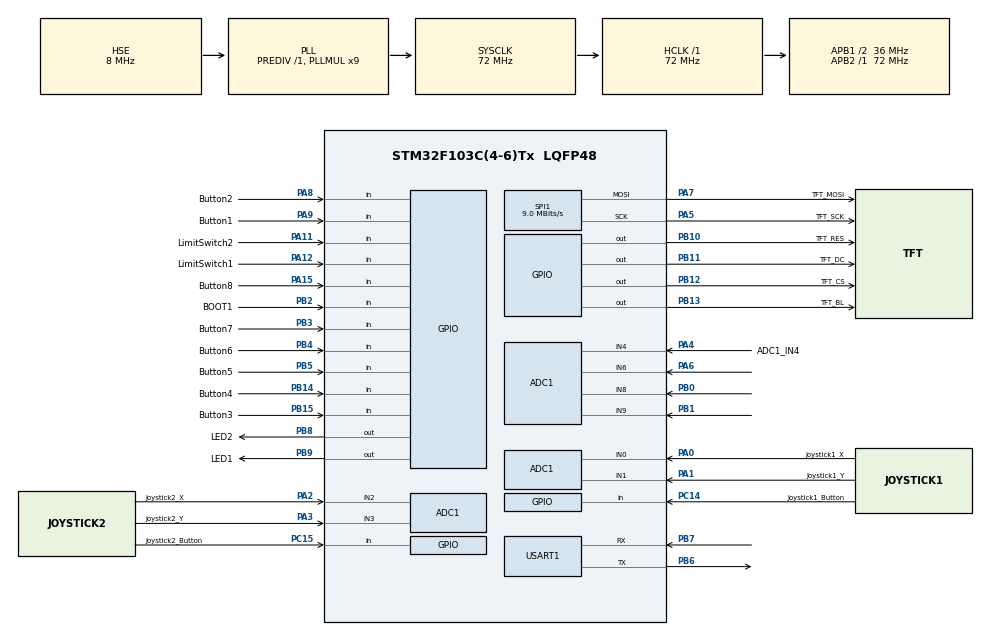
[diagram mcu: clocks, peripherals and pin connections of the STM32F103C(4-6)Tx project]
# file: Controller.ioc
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ADC1.Channel-0\#ChannelRegularConversion=ADC_CHANNEL_0
ADC1.Channel-1\#ChannelRegularConversion=ADC_CHANNEL_1
ADC1.Channel-2\#ChannelRegularConversion=ADC_CHANNEL_2
ADC1.Channel-3\#ChannelRegularConversion=ADC_CHANNEL_3
ADC1.ContinuousConvMode=ENABLE
ADC1.NbrOfConversion=4
ADC1.NbrOfConversionFlag=1
ADC1.Rank-0\#ChannelRegularConversion=1
ADC1.Rank-1\#ChannelRegularConversion=2
ADC1.Rank-2\#ChannelRegularConversion=3
ADC1.Rank-3\#ChannelRegularConversion=4
ADC1.SamplingTime-0\#ChannelRegularConversion=ADC_SAMPLETIME_1CYCLE_5
ADC1.SamplingTime-1\#ChannelRegularConversion=ADC_SAMPLETIME_1CYCLE_5
ADC1.SamplingTime-2\#ChannelRegularConversion=ADC_SAMPLETIME_1CYCLE_5
ADC1.SamplingTime-3\#ChannelRegularConversion=ADC_SAMPLETIME_1CYCLE_5
ADC1.master=1
Dma.ADC1.0.Direction=DMA_PERIPH_TO_MEMORY
Dma.ADC1.0.Instance=DMA1_Channel1
Dma.ADC1.0.MemDataAlignment=DMA_MDATAALIGN_HALFWORD
Dma.ADC1.0.MemInc=DMA_MINC_ENABLE
Dma.ADC1.0.Mode=DMA_CIRCULAR
Dma.ADC1.0.PeriphDataAlignment=DMA_PDATAALIGN_HALFWORD
Dma.ADC1.0.PeriphInc=DMA_PINC_DISABLE
Dma.ADC1.0.Priority=DMA_PRIORITY_HIGH
Dma.Request0=ADC1
Mcu.Family=STM32F1
Mcu.Name=STM32F103C(4-6)Tx
Mcu.Package=LQFP48
NVIC.PriorityGroup=NVIC_PRIORITYGROUP_4
NVIC.USART1_IRQn=true\:1\:0\:true\:false\:true\:true\:true\:true
PA0-WKUP.GPIO_Label=Joystick1_X
PA0-WKUP.Signal=ADCx_IN0
PA1.GPIO_Label=Joystick1_Y
PA1.Signal=ADCx_IN1
PA11.GPIO_Label=LimitSwitch2
PA11.GPIO_PuPd=GPIO_NOPULL
PA11.Signal=GPIO_Input
PA12.GPIO_Label=LimitSwitch1
PA12.GPIO_PuPd=GPIO_NOPULL
PA12.Signal=GPIO_Input
PA13.Mode=Serial_Wire
PA13.Signal=SYS_JTMS-SWDIO
PA14.Mode=Serial_Wire
PA14.Signal=SYS_JTCK-SWCLK
PA15.GPIO_Label=Button8
PA15.GPIO_PuPd=GPIO_PULLUP
PA15.Signal=GPIO_Input
PA2.GPIO_Label=Joystick2_X
PA2.Signal=ADCx_IN2
PA3.GPIO_Label=Joystick2_Y
PA3.Signal=ADCx_IN3
PA4.GPIO_Label=ADC1_IN4
PA4.Signal=ADCx_IN4
PA5.GPIO_Label=TFT_SCK
PA5.Mode=TX_Only_Simplex_Unidirect_Master
PA5.Signal=SPI1_SCK
PA6.Signal=ADCx_IN6
PA7.GPIO_Label=TFT_MOSI
PA7.Mode=TX_Only_Simplex_Unidirect_Master
PA7.Signal=SPI1_MOSI
PA8.GPIO_Label=Button2
PA8.GPIO_PuPd=GPIO_PULLUP
PA8.Signal=GPIO_Input
PA9.GPIO_Label=Button1
PA9.GPIO_PuPd=GPIO_PULLUP
PA9.Signal=GPIO_Input
PB0.Signal=ADCx_IN8
PB1.Signal=ADCx_IN9
PB10.GPIO_Label=TFT_RES
PB10.Signal=GPIO_Output
PB11.GPIO_Label=TFT_DC
PB11.Signal=GPIO_Output
PB12.GPIO_Label=TFT_CS
PB12.Signal=GPIO_Output
PB13.GPIO_Label=TFT_BL
PB13.Signal=GPIO_Output
PB14.GPIO_Label=Button4
PB14.GPIO_PuPd=GPIO_PULLUP
PB14.Signal=GPIO_Input
PB15.GPIO_Label=Button3
PB15.GPIO_PuPd=GPIO_PULLUP
PB15.Signal=GPIO_Input
PB2.GPIO_Label=BOOT1
PB2.Signal=GPIO_Input
PB3.GPIO_Label=Button7
PB3.GPIO_PuPd=GPIO_PULLUP
PB3.Signal=GPIO_Input
PB4.GPIO_Label=Button6
PB4.GPIO_PuPd=GPIO_PULLUP
PB4.Signal=GPIO_Input
PB5.GPIO_Label=Button5
PB5.GPIO_PuPd=GPIO_PULLUP
PB5.Signal=GPIO_Input
PB6.Mode=Asynchronous
PB6.Signal=USART1_TX
PB7.Mode=Asynchronous
PB7.Signal=USART1_RX
PB8.GPIO_Label=LED2
PB8.GPIO_PuPd=GPIO_NOPULL
PB8.PinState=GPIO_PIN_SET
PB8.Signal=GPIO_Output
PB9.GPIO_Label=LED1
PB9.GPIO_PuPd=GPIO_NOPULL
PB9.PinState=GPIO_PIN_SET
PB9.Signal=GPIO_Output
PC14-OSC32_IN.GPIO_Label=Joystick1_Button
PC14-OSC32_IN.GPIO_PuPd=GPIO_NOPULL
PC14-OSC32_IN.Signal=GPIO_Input
PC15-OSC32_OUT.GPIO_Label=Joystick2_Button
PC15-OSC32_OUT.GPIO_PuPd=GPIO_NOPULL
PC15-OSC32_OUT.Signal=GPIO_Input
PD0-OSC_IN.Mode=HSE-External-Oscillator
PD0-OSC_IN.Signal=RCC_OSC_IN
PD1-OSC_OUT.Mode=HSE-External-Oscillator
PD1-OSC_OUT.Signal=RCC_OSC_OUT
ProjectManager.HeapSize=0x200
ProjectManager.StackSize=0x400
ProjectManager.TargetToolchain=CMake
RCC.ADCPresc=RCC_ADCPCLK2_DIV6
RCC.AHBFreq_Value=72000000
RCC.APB1CLKDivider=RCC_HCLK_DIV2
RCC.APB1Freq_Value=36000000
RCC.APB1TimFreq_Value=72000000
RCC.APB2Freq_Value=72000000
RCC.APB2TimFreq_Value=72000000
RCC.HCLKFreq_Value=72000000
RCC.PLLMUL=RCC_PLL_MUL9
RCC.PLLSourceVirtual=RCC_PLLSOURCE_HSE
RCC.SYSCLKFreq_VALUE=72000000
RCC.SYSCLKSource=RCC_SYSCLKSOURCE_PLLCLK
RCC.USBFreq_Value=72000000
SH.ADCx_IN0.0=ADC1_IN0,IN0
SH.ADCx_IN1.0=ADC1_IN1,IN1
SH.ADCx_IN2.0=ADC1_IN2,IN2
SH.ADCx_IN3.0=ADC1_IN3,IN3
SH.ADCx_IN4.0=ADC1_IN4,IN4
SH.ADCx_IN6.0=ADC1_IN6,IN6
SH.ADCx_IN8.0=ADC1_IN8,IN8
SH.ADCx_IN9.0=ADC1_IN9,IN9
SPI1.BaudRatePrescaler=SPI_BAUDRATEPRESCALER_8
SPI1.CalculateBaudRate=9.0 MBits/s
SPI1.Direction=SPI_DIRECTION_2LINES
SPI1.Mode=SPI_MODE_MASTER
SPI1.VirtualType=VM_MASTER
USART1.VirtualMode=VM_ASYNC
board=custom

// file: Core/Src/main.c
/* USER CODE BEGIN Header */
/**
  ******************************************************************************
  * @file           : main.c
  * @brief          : Main program body
  ******************************************************************************
  * @attention
  *
  * Copyright (c) 2026 STMicroelectronics.
  * All rights reserved.
  *
  * This software is licensed under terms that can be found in the LICENSE file
  * in the root directory of this software component.
  * If no LICENSE file comes with this software, it is provided AS-IS.
  *
  ******************************************************************************
  */
/* USER CODE END Header */
#include "main.h"
#include "adc.h"
#include "dma.h"
#include "spi.h"
#include "stm32f1xx_hal.h"
#include "stm32f1xx_hal_def.h"
#include "stm32f1xx_hal_uart.h"
#include "usart.h"
#include "gpio.h"

/* USER CODE BEGIN Includes */
#include "lcd/lcd.h"
#include "lcd/lcd_graphics.h"
#include "rdc_protocol.h"
#include "joystick_calibration.h"
#include "joystick_dma_watchdog.h"
#include "mechanism_mapping.h"
#include "turn_buttons.h"
#include <stdint.h>
#include <stdio.h>
#include <string.h>
/* USER CODE END Includes */

/* USER CODE BEGIN PD */
#define HOLD_RESEND_MS      100U   /* CW / CCW repeat period while held */
#define MECH_DEBOUNCE_MS     30U
#define UART_TX_TIMEOUT_MS   50U
#define RDC_TX_PERIOD_MS      50U
#define RDC_DISPLAY_PERIOD_MS 100U
#define RDC_ACK_QUEUE_LEN      8U
#define RDC_JOY_WARNING_THRESHOLD_PCT 60
/* USER CODE END PD */

/* USER CODE BEGIN PV */
static volatile uint16_t joystick_adc[4] __attribute__((aligned(4)));
static JoystickDmaWatchdog joystick_dma;
static int16_t ratio_x, ratio_y, ratio_z;
typedef struct {
  uint8_t stable_pressed;
  uint8_t candidate_pressed;
  uint32_t candidate_since;
} DebouncedButton;
static DebouncedButton mechanism_button7, mechanism_button8;
static DebouncedButton heading_toggle_button, heading_zero_button;
static uint8_t heading_mode;
static DebouncedButton turn_left_button, turn_right_button;
static TurnButtons turn_buttons = {RDC_MESSAGE_TURN_IDLE, RDC_MESSAGE_TURN_IDLE, 0U, 0U, 0U};
static RdcMessageType mechanism_command = RDC_MESSAGE_MECHANISM_STOP;
static RdcMessageType last_mechanism_sent = RDC_MESSAGE_NONE;
static uint8_t mechanism_sent_known;
static uint32_t last_mechanism_tx_tick;
static uint32_t next_tx_tick, next_display_tick;
static uint32_t g_tx_count, g_ack_count, g_ack_bad, g_uart_errors, g_ack_overflow;
static uint16_t g_last_ack_sequence;
static uint8_t g_last_ack_status;
static uint32_t g_last_ack_tick;
static char g_last_sent[24] = "-";

/* ACK RX uses an ISR-to-main-loop queue so checksum parsing stays out of IRQ context. */
static uint8_t ack_rx_byte;
static char ack_rx_line[RDC_PROTOCOL_MAX_FRAME];
static uint8_t ack_rx_length, ack_rx_discard;
static char ack_queue[RDC_ACK_QUEUE_LEN][RDC_PROTOCOL_MAX_FRAME];
static uint8_t ack_queue_length[RDC_ACK_QUEUE_LEN];
static volatile uint8_t ack_queue_head, ack_queue_tail;
/* USER CODE END PV */

void SystemClock_Config(void);

/* USER CODE BEGIN 0 */
/* Poll the latched DMA flags rather than enabling a high-rate scan interrupt.
 * A completion proves that at least one complete four-channel scan occurred,
 * not that the joystick wiring or voltages themselves are healthy. */
static void update_joystick_dma(uint32_t now)
{
  const uint32_t flags = DMA1->ISR;
  const int running = ((DMA1_Channel1->CCR & DMA_CCR_EN) != 0U) &&
                      ((ADC1->CR2 & (ADC_CR2_ADON | ADC_CR2_DMA)) ==
                       (ADC_CR2_ADON | ADC_CR2_DMA));
  const int completed = (flags & DMA_ISR_TCIF1) != 0U;
  if (completed) DMA1->IFCR = DMA_IFCR_CTCIF1;
  joystick_dma_observe(&joystick_dma, now, running,
                       (flags & DMA_ISR_TEIF1) != 0U, completed);
}

static int16_t normalize_axis(uint16_t raw, uint16_t minimum,
                              uint16_t centre, uint16_t maximum,
                              uint16_t deadband)
{
  if ((minimum >= centre) || (centre >= maximum)) return 0;

  const int32_t delta = (int32_t)raw - (int32_t)centre;
  if ((delta >= -(int32_t)deadband) && (delta <= (int32_t)deadband)) return 0;

  int32_t value;
  if (delta > 0) {
    const int32_t usable = (int32_t)maximum - (int32_t)centre - (int32_t)deadband;
    if (usable <= 0) return 0;
    if (((int32_t)maximum - (int32_t)raw) <= (int32_t)RDC_JOY_ENDPOINT_SNAP_COUNTS)
      return 100;
    const int32_t active_delta = delta - (int32_t)deadband;
    value = (active_delta * 100 + usable / 2) / usable;
  } else {
    const int32_t usable = (int32_t)centre - (int32_t)minimum - (int32_t)deadband;
    if (usable <= 0) return 0;
    if (((int32_t)raw - (int32_t)minimum) <= (int32_t)RDC_JOY_ENDPOINT_SNAP_COUNTS)
      return -100;
    const int32_t active_delta = -delta - (int32_t)deadband;
    value = -((active_delta * 100 + usable / 2) / usable);
  }

  if (value > 100) value = 100;
  if (value < -100) value = -100;
  return (int16_t)value;
}

/* LED1 warns on left-stick translation; LED2 warns on right-stick rotation.
 * A warning is shown only when a normalized joystick ratio exceeds 60%. */
static void update_joystick_warning_leds(void)
{
  if ((ratio_x > RDC_JOY_WARNING_THRESHOLD_PCT) ||
      (ratio_x < -RDC_JOY_WARNING_THRESHOLD_PCT) ||
      (ratio_y > RDC_JOY_WARNING_THRESHOLD_PCT) ||
      (ratio_y < -RDC_JOY_WARNING_THRESHOLD_PCT)) {
    led_on(LED1);
  } else {
    led_off(LED1);
  }

  if ((ratio_z > RDC_JOY_WARNING_THRESHOLD_PCT) ||
      (ratio_z < -RDC_JOY_WARNING_THRESHOLD_PCT)) {
    led_on(LED2);
  } else {
    led_off(LED2);
  }
}

static void uart_send_line(const char *line, size_t length)
{
  if (length == 0U || length > RDC_PROTOCOL_MAX_FRAME) return;
  if (HAL_UART_Transmit(&huart1, (uint8_t *)line, (uint16_t)length,
                        UART_TX_TIMEOUT_MS) != HAL_OK) return;
  g_tx_count++;
  size_t visible = (length > 0U && line[length - 1U] == '\n') ? length - 1U : length;
  if (visible >= sizeof(g_last_sent)) visible = sizeof(g_last_sent) - 1U;
  memcpy(g_last_sent, line, visible);
  g_last_sent[visible] = '\0';
}

static void send_motion_lines(void)
{
  char line[RDC_PROTOCOL_MAX_FRAME];
  size_t length = rdc_encode_move(line, sizeof(line), ratio_x, ratio_y);
  uart_send_line(line, length);
  length = rdc_encode_rotation(line, sizeof(line), ratio_z);
  uart_send_line(line, length);
}

static void update_debounced_button(DebouncedButton *button, uint8_t raw_pressed,
                                    uint32_t now)
{
  if (raw_pressed != button->candidate_pressed) {
    button->candidate_pressed = raw_pressed;
    button->candidate_since = now;
  }
  if ((button->candidate_pressed != button->stable_pressed) &&
      ((uint32_t)(now - button->candidate_since) >= MECH_DEBOUNCE_MS)) {
    button->stable_pressed = button->candidate_pressed;
  }
}

static void update_mechanism_buttons(uint32_t now)
{
  update_debounced_button(&mechanism_button7, btn_read(Button7) ? 1U : 0U, now);
  update_debounced_button(&mechanism_button8, btn_read(Button8) ? 1U : 0U, now);

  /* Button 7 closes, button 8 opens; neither or both pressed means STOP. */
  RdcMessageType desired = mechanism_command_for_buttons(
      mechanism_button7.stable_pressed, mechanism_button8.stable_pressed);
  mechanism_command = desired;

  /* Repeat the active command as a hold/deadman signal; send STOP on release
   * or conflict, and periodically so the receiver refreshes its watchdog. */
  if (!mechanism_sent_known || (desired != last_mechanism_sent) ||
      ((uint32_t)(now - last_mechanism_tx_tick) >= RDC_TX_PERIOD_MS)) {
    char line[RDC_PROTOCOL_MAX_FRAME];
    const size_t length = rdc_encode_mechanism(line, sizeof(line), desired);
    uart_send_line(line, length);
    last_mechanism_sent = desired;
    last_mechanism_tx_tick = now;
    mechanism_sent_known = 1U;
  }
}

static void update_heading_buttons(uint32_t now)
{
  const uint8_t was_pressed = heading_toggle_button.stable_pressed;
  update_debounced_button(&heading_toggle_button, btn_read(Button1) ? 1U : 0U, now);
  update_debounced_button(&heading_zero_button, btn_read(Button4) ? 1U : 0U, now);
  if (heading_toggle_button.stable_pressed && !was_pressed) heading_mode ^= 1U;
}

static void send_heading_lines(void)
{
  char line[RDC_PROTOCOL_MAX_FRAME];
  RdcMessageType mode = heading_mode ? RDC_MESSAGE_HEADING_ON : RDC_MESSAGE_HEADING_OFF;
  size_t length = rdc_encode_heading(line, sizeof(line), mode);
  uart_send_line(line, length);
  if (heading_zero_button.stable_pressed) {
    length = rdc_encode_heading(line, sizeof(line), RDC_MESSAGE_HEADING_ZERO);
    uart_send_line(line, length);
  }
}

static void update_turn_buttons(uint32_t now)
{
  update_debounced_button(&turn_left_button, btn_read(Button2) ? 1U : 0U, now);
  update_debounced_button(&turn_right_button, btn_read(Button3) ? 1U : 0U, now);
  turn_buttons_update(&turn_buttons, turn_left_button.stable_pressed,
                      turn_right_button.stable_pressed, now);
}

static void send_turn_line(void)
{
  char line[RDC_PROTOCOL_MAX_FRAME];
  /* ADC failure must cancel automatic movement too, not merely zero sticks. */
  RdcMessageType command = joystick_dma.state == JOYSTICK_DMA_OK ?
                           turn_buttons.output : RDC_MESSAGE_TURN_CANCEL;
  size_t length = rdc_encode_turn(line, sizeof(line), command);
  uart_send_line(line, length);
}

static const char *mechanism_text(RdcMessageType command)
{
  switch (command) {
    case RDC_MESSAGE_MECHANISM_OPEN: return "OPEN";
    case RDC_MESSAGE_MECHANISM_CLOSE: return "CLOSE";
    default: return "STOP";
  }
}

static void ack_rx_start(void)
{
  (void)HAL_UART_Receive_IT(&huart1, &ack_rx_byte, 1U);
}

void HAL_UART_RxCpltCallback(UART_HandleTypeDef *huart)
{
  if (huart != &huart1) return;
  const char c = (char)ack_rx_byte;
  if (c == '\n') {
    if (!ack_rx_discard && ack_rx_length > 0U) {
      const uint8_t next = (uint8_t)((ack_queue_head + 1U) % RDC_ACK_QUEUE_LEN);
      if (next != ack_queue_tail) {
        memcpy(ack_queue[ack_queue_head], ack_rx_line, ack_rx_length);
        ack_queue_length[ack_queue_head] = ack_rx_length;
        ack_queue_head = next;
      } else {
        ++g_ack_overflow;
      }
    }
    ack_rx_length = 0U;
    ack_rx_discard = 0U;
  } else if (c == '\r') {
    ack_rx_discard = 1U; /* LF is mandatory; reject CRLF. */
  } else if (!ack_rx_discard) {
    if (ack_rx_length < sizeof(ack_rx_line) - 1U) {
      ack_rx_line[ack_rx_length++] = c;
    } else {
      ack_rx_length = 0U;
      ack_rx_discard = 1U;
      ++g_ack_bad;
    }
  }
  ack_rx_start();
}

void HAL_UART_ErrorCallback(UART_HandleTypeDef *huart)
{
  if (huart == &huart1) {
    ++g_uart_errors;
    ack_rx_length = 0U;
    ack_rx_discard = 1U;
    ack_rx_start();
  }
}

static void process_ack_lines(void)
{
  while (ack_queue_tail != ack_queue_head) {
    char line[RDC_PROTOCOL_MAX_FRAME];
    const uint8_t length = ack_queue_length[ack_queue_tail];
    memcpy(line, ack_queue[ack_queue_tail], length);
    ack_queue_tail = (uint8_t)((ack_queue_tail + 1U) % RDC_ACK_QUEUE_LEN);
    line[length] = '\n';
    RdcMessage ack;
    if (rdc_parse_line(line, (size_t)length + 1U, &ack) && ack.type == RDC_MESSAGE_ACK) {
      ++g_ack_count;
      g_last_ack_sequence = ack.sequence;
      g_last_ack_status = ack.status;
      g_last_ack_tick = HAL_GetTick();
    } else {
      ++g_ack_bad;
    }
  }
}

static void ratio_text(char *out, size_t capacity, int16_t ratio)
{
  const unsigned magnitude = (unsigned)((ratio < 0) ? -ratio : ratio);
  (void)snprintf(out, capacity, "%c%u.%02u", (ratio < 0) ? '-' : '+',
                 magnitude / 100U, magnitude % 100U);
}
/* USER CODE END 0 */

int main(void)
{

  /* MCU Configuration--------------------------------------------------------*/

  /* Reset of all peripherals, Initializes the Flash interface and the Systick. */
  HAL_Init();

  /* Configure the system clock */
  SystemClock_Config();

  /* Initialize all configured peripherals */
  MX_GPIO_Init();
  MX_DMA_Init();
  MX_ADC1_Init();
  MX_SPI1_Init();
  MX_USART1_UART_Init();
  /* USER CODE BEGIN 2 */
  tft_init(PIN_ON_TOP, BLACK, WHITE, CYAN, DARK_GREY);
  led_off(LED1);
  led_off(LED2);
  const HAL_StatusTypeDef adc_start = HAL_ADC_Start_DMA(
      &hadc1, (uint32_t *)(uintptr_t)joystick_adc, 4U);
  if (adc_start == HAL_OK) {
    __HAL_DMA_DISABLE_IT(hadc1.DMA_Handle, DMA_IT_HT | DMA_IT_TC | DMA_IT_TE);
  }
  joystick_dma_begin(&joystick_dma, HAL_GetTick(), adc_start == HAL_OK);
  ack_rx_start();
  next_tx_tick = HAL_GetTick();
  next_display_tick = next_tx_tick;
  /* USER CODE END 2 */

  /* Infinite loop */
  while (1)
  {

    /* USER CODE BEGIN 3 */
    const uint32_t now = HAL_GetTick();
    process_ack_lines();
    update_joystick_dma(HAL_GetTick());
    update_mechanism_buttons(now);
    update_heading_buttons(now);
    update_turn_buttons(now);

    if ((int32_t)(now - next_tx_tick) >= 0) {
      if (joystick_dma.state == JOYSTICK_DMA_OK) {
        ratio_x = normalize_axis(joystick_adc[0], RDC_JOY_LX_MIN,
                                 RDC_JOY_LX_CENTRE, RDC_JOY_LX_MAX,
                                 RDC_JOY_DEADBAND);
        ratio_y = (int16_t)-normalize_axis(joystick_adc[1], RDC_JOY_LY_MIN,
                                           RDC_JOY_LY_CENTRE, RDC_JOY_LY_MAX,
                                           RDC_JOY_DEADBAND);
        ratio_z = normalize_axis(joystick_adc[2], RDC_JOY_RX_MIN,
                                 RDC_JOY_RX_CENTRE, RDC_JOY_RX_MAX,
                                 RDC_JOY_DEADBAND); /* right-stick X: + clockwise */
      } else {
        ratio_x = ratio_y = ratio_z = 0; /* inhibit driving until a valid scan */
      }
      update_joystick_warning_leds();
      send_motion_lines();
      send_heading_lines();
      send_turn_line();

      next_tx_tick = now + RDC_TX_PERIOD_MS;
    }

    if ((int32_t)(now - next_display_tick) >= 0) {
      char x_text[8], y_text[8], z_text[8];
      ratio_text(x_text, sizeof(x_text), ratio_x);
      ratio_text(y_text, sizeof(y_text), ratio_y);
      ratio_text(z_text, sizeof(z_text), ratio_z);
      const char *ack_state = (g_last_ack_tick != 0U &&
          (now - g_last_ack_tick) <= 350U) ?
          (g_last_ack_status == 0U ? "UP" : "ERR") : "WAIT";
      tft_prints(1, 0, "RDC CONTROLLER");
      tft_prints(1, 1, "ACK:%s #%u", ack_state, (unsigned)g_last_ack_sequence);
      tft_prints(1, 2, "LX:%s", x_text);
      tft_prints(1, 3, "LY:%s", y_text);
      tft_prints(1, 4, "RZ:%s", z_text);
      tft_prints(1, 5, "MECH:%s", mechanism_text(mechanism_command));
      tft_prints(1, 6, "TX:%u RX:%u", (unsigned)g_tx_count, (unsigned)g_ack_count);
      tft_prints(1, 7, "BAD:%u OVF:%u", (unsigned)g_ack_bad, (unsigned)g_ack_overflow);
      tft_prints(1, 8, "UART ERR:%u", (unsigned)g_uart_errors);
      tft_prints(1, 9, "HEAD:%s B4:ZERO", heading_mode ? "ON " : "OFF");
      tft_prints(1, 10, "B7:CLOSE B8:OPEN");
      tft_prints(1, 11, "ADC:%-5s", joystick_dma.state == JOYSTICK_DMA_OK ? "OK" :
                 (joystick_dma.state == JOYSTICK_DMA_WAIT ? "WAIT" : "FAULT"));
      tft_update(50U);
      next_display_tick = now + RDC_DISPLAY_PERIOD_MS;
    }
  }
  /* USER CODE END 3 */
}

void SystemClock_Config(void)
{
  RCC_OscInitTypeDef RCC_OscInitStruct = {0};
  RCC_ClkInitTypeDef RCC_ClkInitStruct = {0};
  RCC_PeriphCLKInitTypeDef PeriphClkInit = {0};

  /** Initializes the RCC Oscillators according to the specified parameters
  * in the RCC_OscInitTypeDef structure.
  */
  RCC_OscInitStruct.OscillatorType = RCC_OSCILLATORTYPE_HSE;
  RCC_OscInitStruct.HSEState = RCC_HSE_ON;
  RCC_OscInitStruct.HSEPredivValue = RCC_HSE_PREDIV_DIV1;
  RCC_OscInitStruct.HSIState = RCC_HSI_ON;
  RCC_OscInitStruct.PLL.PLLState = RCC_PLL_ON;
  RCC_OscInitStruct.PLL.PLLSource = RCC_PLLSOURCE_HSE;
  RCC_OscInitStruct.PLL.PLLMUL = RCC_PLL_MUL9;
  if (HAL_RCC_OscConfig(&RCC_OscInitStruct) != HAL_OK)
  {
    Error_Handler();
  }

  /** Initializes the CPU, AHB and APB buses clocks
  */
  RCC_ClkInitStruct.ClockType = RCC_CLOCKTYPE_HCLK|RCC_CLOCKTYPE_SYSCLK
                              |RCC_CLOCKTYPE_PCLK1|RCC_CLOCKTYPE_PCLK2;
  RCC_ClkInitStruct.SYSCLKSource = RCC_SYSCLKSOURCE_PLLCLK;
  RCC_ClkInitStruct.AHBCLKDivider = RCC_SYSCLK_DIV1;
  RCC_ClkInitStruct.APB1CLKDivider = RCC_HCLK_DIV2;
  RCC_ClkInitStruct.APB2CLKDivider = RCC_HCLK_DIV1;

  if (HAL_RCC_ClockConfig(&RCC_ClkInitStruct, FLASH_LATENCY_2) != HAL_OK)
  {
    Error_Handler();
  }
  PeriphClkInit.PeriphClockSelection = RCC_PERIPHCLK_ADC;
  PeriphClkInit.AdcClockSelection = RCC_ADCPCLK2_DIV6;
  if (HAL_RCCEx_PeriphCLKConfig(&PeriphClkInit) != HAL_OK)
  {
    Error_Handler();
  }
}

void Error_Handler(void)
{
  __disable_irq();
  while (1)
  {
  }
}
